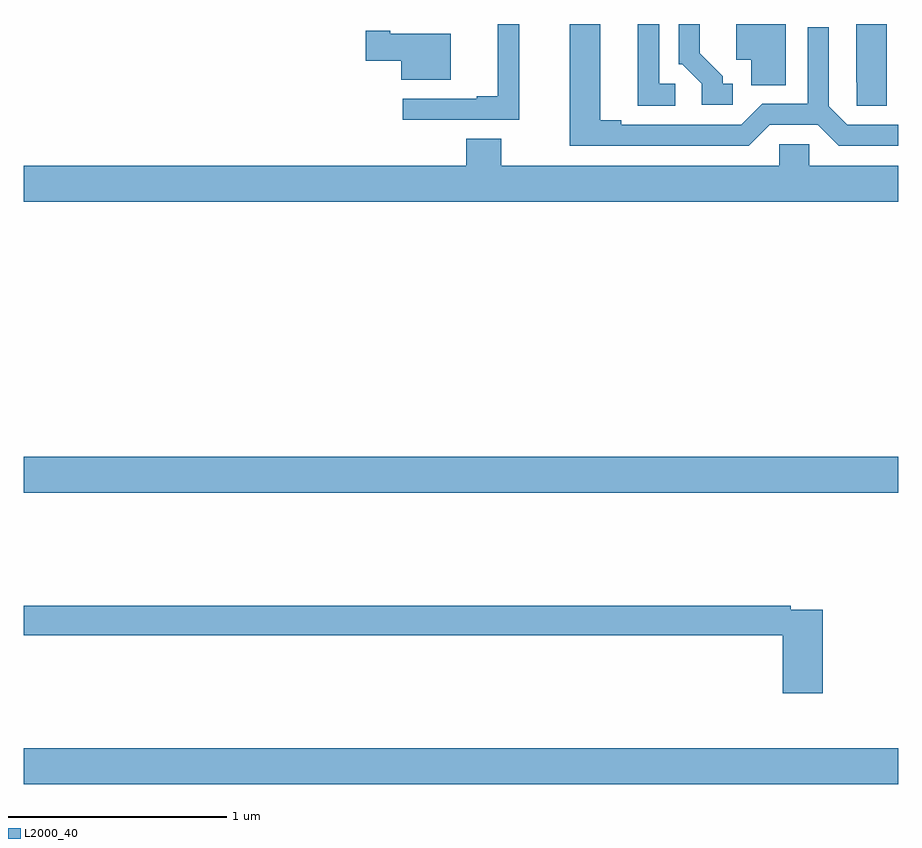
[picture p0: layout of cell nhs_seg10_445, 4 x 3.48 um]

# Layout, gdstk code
import gdstk
lib = gdstk.Library(unit=1e-6, precision=1e-09)
def R(c, l, rs):  # rectangles x0, y0, x1, y1
    for r in rs: c.add(gdstk.rectangle(r[:2], r[2:], *l))
def P(c, l, *ps):  # polygons
    for p in ps: c.add(gdstk.Polygon(p, *l))
L2000_40 = (2000, 40)

nhs_seg10_445 = lib.new_cell('nhs_seg10_445')
R(nhs_seg10_445, L2000_40, [(133,1259.024,137,1259.188), (133,1260.356,137,1260.52)])
P(nhs_seg10_445, L2000_40, [(135.267,1262.5),(135.167,1262.5),(135.167,1262.17),(135.071,1262.17),(135.071,1262.157),(134.733,1262.157),(134.733,1262.061),(135.267,1262.061)],
  [(135.979,1262.226),(135.906,1262.226),(135.906,1262.5),(135.809,1262.5),(135.809,1262.125),(135.979,1262.125)],
  [(136.486,1262.5),(136.259,1262.5),(136.259,1262.336),(136.328,1262.336),(136.328,1262.221),(136.486,1262.221)],
  [(136.948,1262.5),(136.808,1262.5),(136.808,1262.233),(136.809,1262.233),(136.809,1262.125),(136.948,1262.125)],
  [(136.413,1262.04),(136.631,1262.04),(136.727,1261.944),(137,1261.944),(137,1262.04),(136.767,1262.04),(136.683,1262.124),(136.683,1262.485),(136.587,1262.485),(136.587,1262.136),(136.377,1262.136),(136.281,1262.04),(135.733,1262.04),(135.733,1262.06),(135.637,1262.06),(135.637,1262.5),(135.497,1262.5),(135.497,1261.944),(136.317,1261.944)],
  [(136.243,1262.226),(136.198,1262.226),(136.198,1262.261),(136.093,1262.366),(136.093,1262.5),(135.996,1262.5),(135.996,1262.316),(136.011,1262.316),(136.101,1262.226),(136.101,1262.13),(136.243,1262.13)],
  [(134.953,1262.455),(134.677,1262.455),(134.677,1262.468),(134.565,1262.468),(134.565,1262.333),(134.726,1262.333),(134.726,1262.246),(134.953,1262.246)],
  [(137,1261.852),(136.593,1261.852),(136.593,1261.95),(136.455,1261.95),(136.455,1261.852),(135.183,1261.852),(135.183,1261.976),(135.023,1261.976),(135.023,1261.852),(133,1261.852),(133,1261.688),(137,1261.688)],
  [(136.655,1259.82),(136.508,1259.82),(136.508,1259.84),(133,1259.84),(133,1259.704),(136.472,1259.704),(136.472,1259.439),(136.655,1259.439)])

lib.write_gds('nhs_seg10_445.gds')
